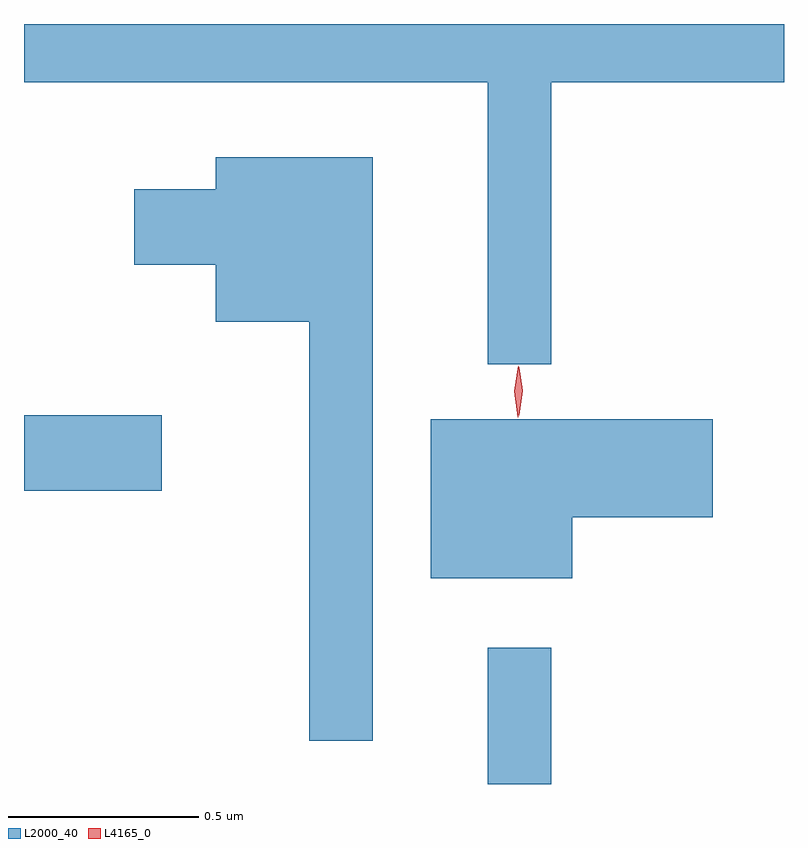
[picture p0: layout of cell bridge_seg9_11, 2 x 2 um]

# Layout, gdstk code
import gdstk
lib = gdstk.Library(unit=1e-6, precision=1e-09)
def R(c, l, rs):  # rectangles x0, y0, x1, y1
    for r in rs: c.add(gdstk.rectangle(r[:2], r[2:], *l))
def P(c, l, *ps):  # polygons
    for p in ps: c.add(gdstk.Polygon(p, *l))
L2000_40 = (2000, 40)
L4165_0 = (4165, 0)

bridge_seg9_11 = lib.new_cell('bridge_seg9_11')
R(bridge_seg9_11, L2000_40, [(1780.741,2036.589,1780.909,2036.948), (1779.521,2037.361,1779.884,2037.559)])
P(bridge_seg9_11, L2000_40, [(1780.909,2038.436),(1781.521,2038.436),(1781.521,2038.589),(1779.521,2038.589),(1779.521,2038.436),(1780.741,2038.436),(1780.741,2037.693),(1780.909,2037.693)],
  [(1780.439,2038.239),(1780.026,2038.239),(1780.026,2038.154),(1779.811,2038.154),(1779.811,2037.956),(1780.026,2037.956),(1780.026,2037.806),(1780.271,2037.806),(1780.271,2036.703),(1780.439,2036.703)],
  [(1780.964,2037.291),(1781.334,2037.291),(1781.334,2037.549),(1780.591,2037.549),(1780.591,2037.131),(1780.964,2037.131)])
P(bridge_seg9_11, L4165_0, [(1780.82,2037.554),(1780.82,2037.554),(1780.811,2037.622),(1780.821,2037.69),(1780.822,2037.69),(1780.822,2037.69),(1780.831,2037.622),(1780.821,2037.554)],
  [(1780.823,2037.56),(1780.823,2037.56),(1780.813,2037.624),(1780.823,2037.686),(1780.823,2037.687),(1780.824,2037.686),(1780.833,2037.624),(1780.824,2037.56)])

lib.write_gds('bridge_seg9_11.gds')
